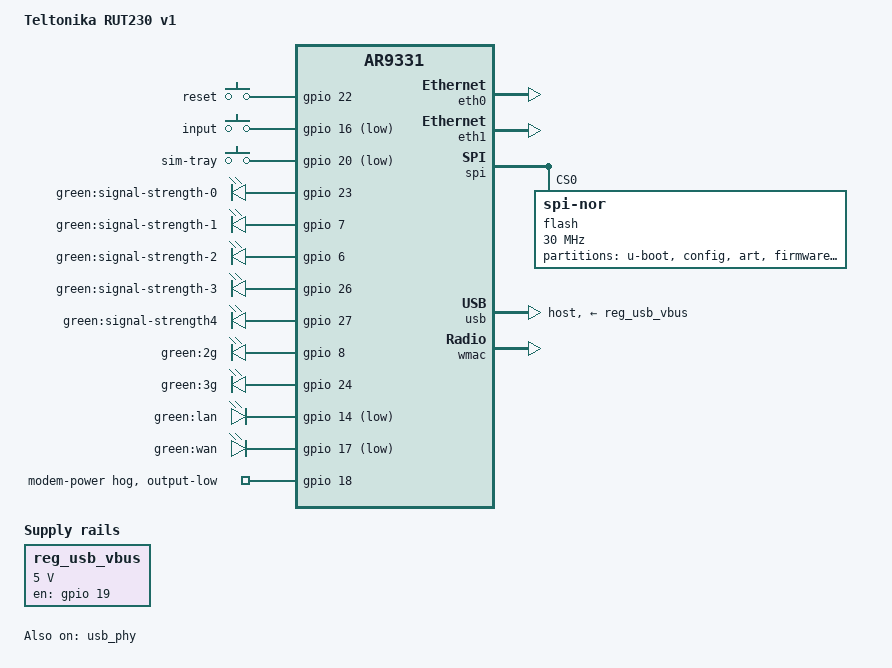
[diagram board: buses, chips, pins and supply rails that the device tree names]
// SPDX-License-Identifier: GPL-2.0-or-later OR MIT

#include "ar9331.dtsi"

#include <dt-bindings/gpio/gpio.h>
#include <dt-bindings/input/input.h>

/ {
	model = "Teltonika RUT230 v1";
	compatible = "teltonika,rut230-v1", "qca,ar9331";

	aliases {
		label-mac-device = &wmac;
		led-boot = &led_ss0;
		led-failsafe = &led_ss0;
		led-upgrade = &led_ss0;
	};

	keys {
		compatible = "gpio-keys";

		reset {
			label = "reset";
			linux,code = <KEY_RESTART>;
			gpios = <&gpio 22 GPIO_ACTIVE_HIGH>;
			debounce-interval = <60>;
		};

		input {
			label = "input";
			linux,code = <BTN_0>;
			gpios = <&gpio 16 GPIO_ACTIVE_LOW>;
			debounce-interval = <60>;
		};

		sim-tray {
			label = "sim-tray";
			linux,code = <BTN_1>;
			gpios = <&gpio 20 GPIO_ACTIVE_LOW>;
			debounce-interval = <60>;
		};
	};

	leds {
		compatible = "gpio-leds";
		pinctrl-names = "default";
		pinctrl-0 = <&switch_led_disable_pins>;

		led_ss0: signal-strength-0 {
			label = "green:signal-strength-0";
			gpios = <&gpio 23 GPIO_ACTIVE_HIGH>;
		};

		signal-strength-1 {
			label = "green:signal-strength-1";
			gpios = <&gpio 7 GPIO_ACTIVE_HIGH>;
		};

		signal-strength-2 {
			label = "green:signal-strength-2";
			gpios = <&gpio 6 GPIO_ACTIVE_HIGH>;
		};

		signal-strength-3 {
			label = "green:signal-strength-3";
			gpios = <&gpio 26 GPIO_ACTIVE_HIGH>;
		};

		signal-strength-4 {
			label = "green:signal-strength4";
			gpios = <&gpio 27 GPIO_ACTIVE_HIGH>;
		};

		2g {
			label = "green:2g";
			gpios = <&gpio 8 GPIO_ACTIVE_HIGH>;
		};

		3g {
			label = "green:3g";
			gpios = <&gpio 24 GPIO_ACTIVE_HIGH>;
		};

		lan {
			label = "green:lan";
			gpios = <&gpio 14 GPIO_ACTIVE_LOW>;
			/* GPIO 13 - ACTIVE HIGH for hwrev 0 */
		};

		wan {
			label = "green:wan";
			gpios = <&gpio 17 GPIO_ACTIVE_LOW>;
			/* GPIO 14 - ACTIVE HIGH for hwrev 0 */
		};

		/* 4G LED - GPIO21 ACTIVE_HIGH for RUT240 */
	};

	reg_usb_vbus: reg_usb_vbus {
		compatible = "regulator-fixed";
		regulator-name = "usb_vbus";
		regulator-min-microvolt = <5000000>;
		regulator-max-microvolt = <5000000>;
		gpio = <&gpio 19 GPIO_ACTIVE_HIGH>;
		enable-active-high;
	};
};

&eth0 {
	status = "okay";

	nvmem-cells = <&macaddr_config_0>;
	nvmem-cell-names = "mac-address";
};

&eth1 {
	status = "okay";

	nvmem-cells = <&macaddr_config_0>;
	nvmem-cell-names = "mac-address";
	mac-address-increment = <1>;
};

&spi {
	status = "okay";

	flash@0 {
		compatible = "jedec,spi-nor";
		reg = <0>;
		spi-max-frequency = <30000000>;

		partitions {
			compatible = "fixed-partitions";
			#address-cells = <1>;
			#size-cells = <1>;

			partition@0 {
				label = "u-boot";
				reg = <0x0 0x20000>;
				read-only;
			};

			config: partition@20000 {
				label = "config";
				reg = <0x20000 0x10000>;
				read-only;
			};

			art: partition@30000 {
				label = "art";
				reg = <0x30000 0x10000>;
				read-only;
			};

			partition@40000 {
				compatible = "tplink,firmware";
				label = "firmware";
				reg = <0x40000 0xf30000>;
			};

			partition@f70000 {
				label = "event-log";
				reg = <0xf70000 0x90000>;
				read-only;
			};
		};
	};
};

&usb {
	dr_mode = "host";
	vbus-supply = <&reg_usb_vbus>;
	status = "okay";
};

&gpio {
	modem-power {
		gpio-hog;
		output-low;
		gpios = <18 GPIO_ACTIVE_HIGH>;
		line-name = "modem-power";
	};
};

&usb_phy {
	status = "okay";
};

&wmac {
	status = "okay";

	mtd-cal-data = <&art 0x1000>;
	nvmem-cells = <&macaddr_config_0>;
	nvmem-cell-names = "mac-address";
	mac-address-increment = <2>;
};

&config {
	compatible = "nvmem-cells";
	#address-cells = <1>;
	#size-cells = <1>;

	macaddr_config_0: macaddr@0 {
		reg = <0x0 0x6>;
	};
};
